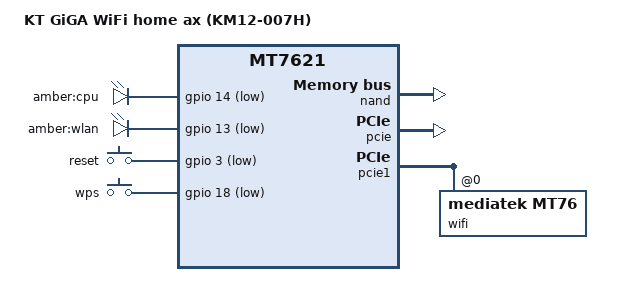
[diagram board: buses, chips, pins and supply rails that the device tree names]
// SPDX-License-Identifier: GPL-2.0-OR-LATER OR MIT
/*
 * Device Tree Source for KT GiGA WiFi home ax (Mercury KM12-007H)
 *
 * SoC:      MediaTek MT7621AT (Dual-core MIPS 1004Kc @ 880MHz)
 * RAM:      256MB DDR3
 * Flash:    128MB NAND (MT7621 NFC)
 * WiFi:     MediaTek MT7615 (Wi-Fi 6 / 802.11ax dual-band)
 * Ports:    1x WAN + 4x LAN (Gigabit)
 * LEDs:     2x amber (cpu, wlan)
 * Buttons:  Reset, WPS
 *
 * Reconstructed from original kernel DTB by analyzing mtd0, mtd2, mtd3 dumps.
 * Compatible with OpenWrt master / 24.10+
 *
 * Original community port detected: Linux 5.15.150 + OpenWrt 23.05 (Mar 2024)
 * Builder: np@kali (unknown Korean community developer)
 */

/dts-v1/;

#include "mt7621.dtsi"

#include <dt-bindings/gpio/gpio.h>
#include <dt-bindings/input/input.h>

/ {
	compatible = "mercury,km12-007h", "mediatek,mt7621-soc";
	model = "KT GiGA WiFi home ax (KM12-007H)";

	aliases {
		led-boot = &led_cpu;
		led-failsafe = &led_cpu;
		led-running = &led_cpu;
		led-upgrade = &led_cpu;
		label-mac-device = &gmac0;
	};

	chosen {
		bootargs = "console=ttyS0,115200";
	};

	leds {
		compatible = "gpio-leds";

		led_cpu: cpu {
			label = "amber:cpu";
			gpios = <&gpio 14 GPIO_ACTIVE_LOW>;
		};

		wlan {
			label = "amber:wlan";
			gpios = <&gpio 13 GPIO_ACTIVE_LOW>;
			linux,default-trigger = "phy0radio";
		};
	};

	keys {
		compatible = "gpio-keys";

		reset {
			label = "reset";
			gpios = <&gpio 3 GPIO_ACTIVE_LOW>;
			linux,code = <KEY_RESTART>;
		};

		wps {
			label = "wps";
			gpios = <&gpio 18 GPIO_ACTIVE_LOW>;
			linux,code = <KEY_WPS_BUTTON>;
		};
	};
};

&nand {
	status = "okay";

	partitions {
		compatible = "fixed-partitions";
		#address-cells = <1>;
		#size-cells = <1>;

		partition@0 {
			label = "Bootloader";
			reg = <0x0 0x80000>;
			read-only;
		};

		partition@80000 {
			label = "Config";
			reg = <0x80000 0x80000>;
		};

		factory: partition@100000 {
			label = "Factory";
			reg = <0x100000 0x40000>;
			read-only;

			nvmem-layout {
				compatible = "fixed-layout";
				#address-cells = <1>;
				#size-cells = <1>;

				macaddr_factory_4: macaddr@4 {
					reg = <0x4 0x6>;
				};

				eeprom_factory_0: eeprom@0 {
					reg = <0x0 0x4da8>;
				};
			};
		};

		partition@140000 {
			label = "Kernel";
			reg = <0x140000 0x400000>;
		};

		partition@540000 {
			label = "ubi";
			reg = <0x540000 0x7a40000>;
		};
	};
};

&gmac0 {
	nvmem-cells = <&macaddr_factory_4>;
	nvmem-cell-names = "mac-address";
};

&switch0 {
	ports {
		port@0 {
			status = "okay";
			label = "wan";
		};

		port@1 {
			status = "okay";
			label = "lan4";
		};

		port@2 {
			status = "okay";
			label = "lan3";
		};

		port@3 {
			status = "okay";
			label = "lan2";
		};

		port@4 {
			status = "okay";
			label = "lan1";
		};
	};
};

&pcie {
	status = "okay";
};

&pcie1 {
	wifi@0,0 {
		compatible = "mediatek,mt76";
		reg = <0x0 0 0 0 0>;
		nvmem-cells = <&eeprom_factory_0>;
		nvmem-cell-names = "eeprom";
	};
};

&state_default {
	gpio {
		groups = "uart2", "uart3", "jtag", "wdt";
		function = "gpio";
	};
};
